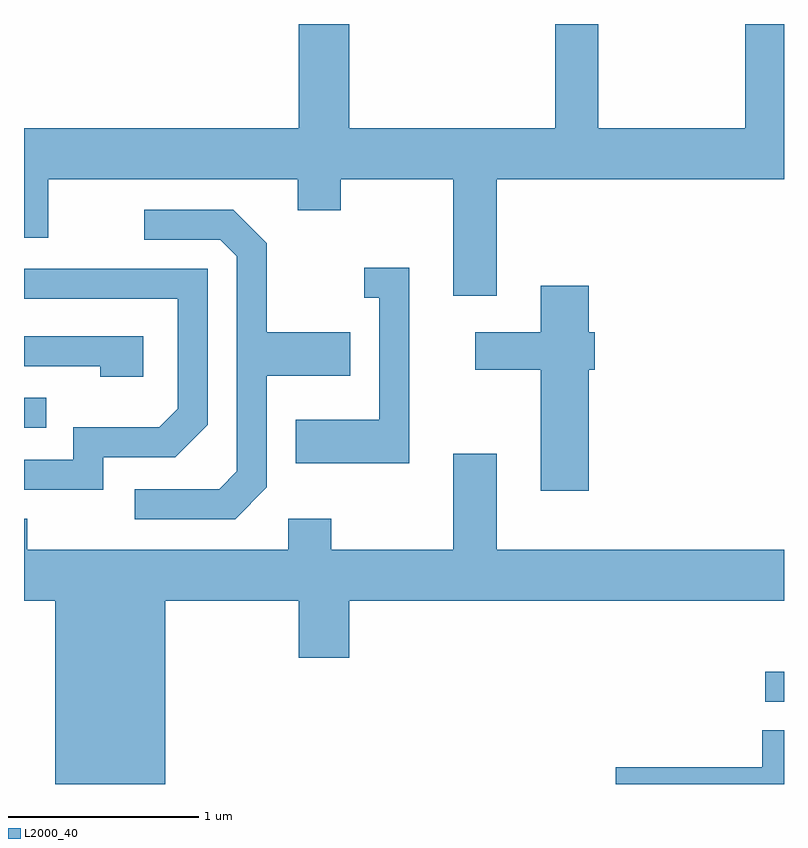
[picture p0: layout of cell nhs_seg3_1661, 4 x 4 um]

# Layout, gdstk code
import gdstk
lib = gdstk.Library(unit=1e-6, precision=1e-09)
def R(c, l, rs):  # rectangles x0, y0, x1, y1
    for r in rs: c.add(gdstk.rectangle(r[:2], r[2:], *l))
def P(c, l, *ps):  # polygons
    for p in ps: c.add(gdstk.Polygon(p, *l))
L2000_40 = (2000, 40)

nhs_seg3_1661 = lib.new_cell('nhs_seg3_1661')
R(nhs_seg3_1661, L2000_40, [(237.513,1174.326,237.611,1174.484), (233.611,1175.766,233.728,1175.924)])
P(nhs_seg3_1661, L2000_40, [(236.099,1177.076),(237.611,1177.076),(237.611,1177.892),(237.406,1177.892),(237.406,1177.344),(236.634,1177.344),(236.634,1177.892),(236.406,1177.892),(236.406,1177.344),(235.324,1177.344),(235.324,1177.892),(235.056,1177.892),(235.056,1177.344),(233.611,1177.344),(233.611,1176.766),(233.739,1176.766),(233.739,1177.076),(235.051,1177.076),(235.051,1176.911),(235.279,1176.911),(235.279,1177.076),(235.871,1177.076),(235.871,1176.461),(236.099,1176.461)],
  [(234.889,1175.454),(234.889,1176.041),(235.329,1176.041),(235.329,1176.269),(234.889,1176.269),(234.889,1176.737),(234.712,1176.914),(234.243,1176.914),(234.243,1176.756),(234.644,1176.756),(234.731,1176.669),(234.731,1175.537),(234.639,1175.444),(234.193,1175.444),(234.193,1175.286),(234.722,1175.286)],
  [(235.639,1176.609),(235.403,1176.609),(235.403,1176.451),(235.481,1176.451),(235.481,1175.809),(235.041,1175.809),(235.041,1175.581),(235.639,1175.581)],
  [(234.029,1175.611),(234.407,1175.611),(234.579,1175.784),(234.579,1176.604),(233.611,1176.604),(233.611,1176.446),(234.421,1176.446),(234.421,1175.867),(234.324,1175.769),(233.871,1175.769),(233.871,1175.599),(233.611,1175.599),(233.611,1175.441),(234.029,1175.441)],
  [(236.584,1176.071),(236.614,1176.071),(236.614,1176.269),(236.584,1176.269),(236.584,1176.514),(236.331,1176.514),(236.331,1176.269),(235.986,1176.269),(235.986,1176.071),(236.331,1176.071),(236.331,1175.436),(236.584,1175.436)],
  [(234.239,1176.249),(233.611,1176.249),(233.611,1176.091),(234.011,1176.091),(234.011,1176.036),(234.239,1176.036)],
  [(235.324,1174.856),(237.611,1174.856),(237.611,1175.124),(236.099,1175.124),(236.099,1175.629),(235.871,1175.629),(235.871,1175.124),(235.229,1175.124),(235.229,1175.289),(235.001,1175.289),(235.001,1175.124),(233.629,1175.124),(233.629,1175.289),(233.611,1175.289),(233.611,1174.856),(233.776,1174.856),(233.776,1173.892),(234.354,1173.892),(234.354,1174.856),(235.056,1174.856),(235.056,1174.556),(235.324,1174.556)],
  [(237.611,1174.174),(237.496,1174.174),(237.496,1173.979),(236.726,1173.979),(236.726,1173.892),(237.611,1173.892)])

lib.write_gds('nhs_seg3_1661.gds')
